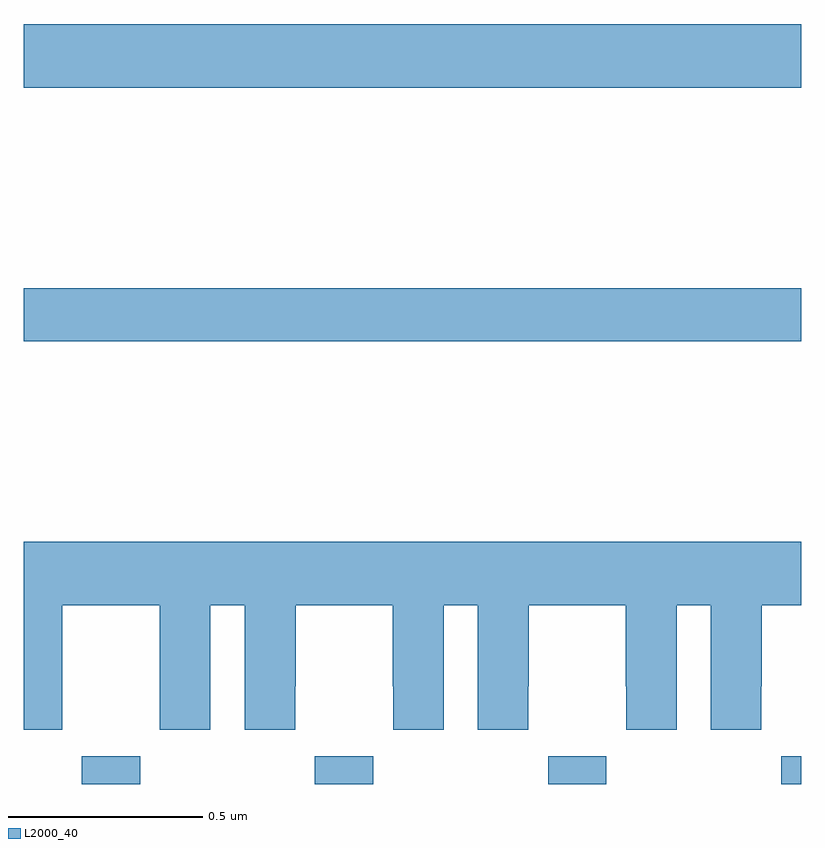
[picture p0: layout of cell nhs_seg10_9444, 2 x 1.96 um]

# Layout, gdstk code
import gdstk
lib = gdstk.Library(unit=1e-6, precision=1e-09)
def R(c, l, rs):  # rectangles x0, y0, x1, y1
    for r in rs: c.add(gdstk.rectangle(r[:2], r[2:], *l))
def A(c, l, x, y, w, h, nx, ny, dx, dy):  # array of equal rectangles
    R(c, l, [(x+i*dx, y+j*dy, x+i*dx+w, y+j*dy+h) for i in range(nx) for j in range(ny)])
def P(c, l, *ps):  # polygons
    for p in ps: c.add(gdstk.Polygon(p, *l))
L2000_40 = (2000, 40)

nhs_seg10_9444 = lib.new_cell('nhs_seg10_9444')
A(nhs_seg10_9444, L2000_40, 229.149, 1322.5, 0.15, 0.072, 3, 1, 0.6, 0)
R(nhs_seg10_9444, L2000_40, [(230.949,1322.5,231,1322.572), (229,1323.64,231,1323.776), (229,1324.292,231,1324.456)])
P(nhs_seg10_9444, L2000_40, [(229.098,1322.752),(229.099,1322.752),(229.099,1322.96),(229.349,1322.96),(229.349,1322.752),(229.35,1322.752),(229.35,1322.64),(229.48,1322.64),(229.48,1322.96),(229.568,1322.96),(229.568,1322.64),(229.698,1322.64),(229.698,1322.752),(229.699,1322.752),(229.699,1322.96),(229.949,1322.96),(229.949,1322.752),(229.95,1322.752),(229.95,1322.64),(230.08,1322.64),(230.08,1322.96),(230.168,1322.96),(230.168,1322.64),(230.298,1322.64),(230.298,1322.752),(230.299,1322.752),(230.299,1322.96),(230.549,1322.96),(230.549,1322.752),(230.55,1322.752),(230.55,1322.64),(230.68,1322.64),(230.68,1322.96),(230.768,1322.96),(230.768,1322.64),(230.898,1322.64),(230.898,1322.752),(230.899,1322.752),(230.899,1322.96),(231,1322.96),(231,1323.124),(229,1323.124),(229,1322.64),(229.098,1322.64)])

lib.write_gds('nhs_seg10_9444.gds')
